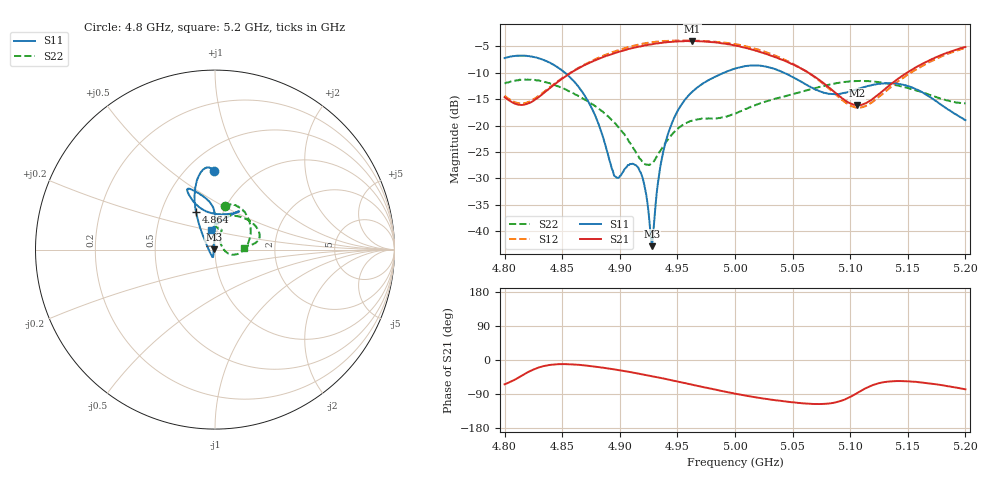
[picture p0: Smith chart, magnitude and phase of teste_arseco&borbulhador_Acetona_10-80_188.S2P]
! Network Analyzer HP8722D
! Hewlett-Packard
! Data name: Linha & Wilkinson
! Saver's name: Rodrigo Anjos
! Comments: Teste da utilização de aquisição
! continua pelo VNA HP8722D
! Time and date: 25/4/2025 16:50
!  Frequency  S11  S21  S12  S22
# HZ  S  MA R 50
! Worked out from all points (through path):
!   401 points, 4.8 GHz to 5.2 GHz, reference 50 ohm
!   highest |S21| = -3.99 dB at 4.963 GHz (marker M1); lowest = -16.1 dB at 5.106 GHz (marker M2)
!   lowest |S11| = -42.8 dB at 4.928 GHz (marker M3), VSWR 1.01, Z = 49.3 + j0.0556 ohm
!   |S11| at or under -10 dB: 4.852 GHz to 4.99 GHz (137.9 MHz wide, 2.8 % of centre); 5.042 GHz to end of sweep
!   |S22| runs from -27.4 to -11.3 dB; largest |S21 - S12| = 1.2
!   S11 on the Smith chart (normalised r, x): 4.8 GHz: 0.67, +0.72; 4.864 GHz: 0.75, +0.33; 5.2 GHz: 0.94, +0.21
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4.8e9  0.4356 90.9  0.1857 -64.1  0.1914 69.5  0.2498 77.2
4.821e9  0.455 97.6  0.1629 -31.1  0.1679 99.6  0.271 61.2
4.845e9  0.3626 107.7  0.2532 -11.3  0.2571 119.4  0.2382 34.7
4.864e9  0.2345 116.9  0.3479 -12.6  0.3508 121.1  0.1906 12.4
4.867e9  0.2109 118.4  0.3621 -13.7  0.366 120.7  0.183 9.0
4.88e9  0.1139 128.5  0.4206 -18.2  0.4314 118.3  0.1488 -4.8
4.896e9  0.03296 -170.0  0.4882 -25.2  0.5045 113.2  0.1051 -15.5
4.909e9  0.0433 -109.4  0.5343 -31.8  0.5597 107.9  0.06815 -13.6
4.917e9  0.03767 -104.8  0.5608 -36.3  0.5862 103.7  0.04897 -0.9
4.922e9  0.02494 -109.0  0.5772 -39.1  0.6013 101.0  0.04299 15.5
4.926e9  0.01132 -132.5  0.5864 -41.5  0.6115 98.5  0.04246 31.9
4.928e9  0.007208 175.5  0.5887 -42.8  0.6163 97.2  0.04435 40.5
4.934e9  0.03364 100.0  0.6019 -46.5  0.6281 93.5  0.05535 56.8
4.945e9  0.1039 90.6  0.6208 -53.5  0.6381 86.4  0.08169 69.3
4.963e9  0.2095 90.8  0.632 -65.3  0.6352 75.0  0.1117 70.7
5e9  0.3462 109.3  0.5726 -88.8  0.5916 51.0  0.13 88.1
5.029e9  0.3578 115.3  0.4679 -103.6  0.4871 34.5  0.172 85.8
5.067e9  0.2279 105.6  0.3014 -115.9  0.299 23.6  0.2218 57.3
5.106e9  0.2209 65.4  0.1559 -87.2  0.1478 55.6  0.2635 25.0
5.134e9  0.2515 57.8  0.2399 -56.7  0.2249 88.8  0.2481 12.5
5.169e9  0.1868 70.5  0.4163 -61.9  0.3999 85.0  0.1951 6.9
5.2e9  0.1126 100.9  0.5543 -77.4  0.5426 70.4  0.1618 4.0
